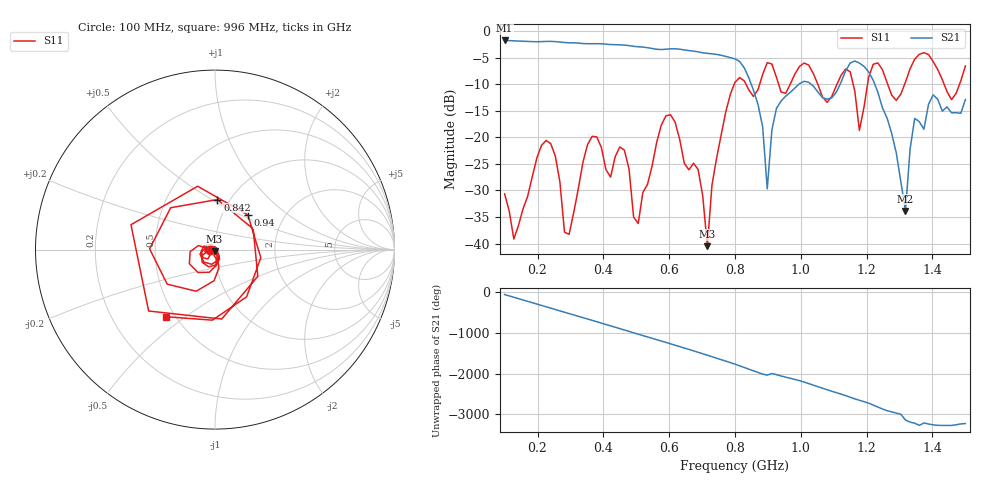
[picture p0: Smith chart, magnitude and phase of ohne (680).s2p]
! NanoVNA-App
! Date: 2025-09-25 14:26:05
! Start: 100MHz Stop: 1,5GHz Points: 101
! S-Parameter data: F S11 S21 S12 S22
# Hz S RI R 50
!  Frequency  S11_Real  S11_Imag  S21_Real  S21_Imag  S12_Real  S12_Imag  S22_Real  S22_Imag
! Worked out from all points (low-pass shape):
!   101 points, 100 MHz to 1.5 GHz, reference 50 ohm
!   highest |S21| = -1.79 dB at 100 MHz (marker M1); lowest = -33.8 dB at 1.318 GHz (marker M2)
!   |S21| within 3 dB of the highest: start of sweep to 772 MHz
!   lowest |S11| = -40.5 dB at 716 MHz (marker M3), VSWR 1.02, Z = 49.7 - j0.903 ohm
!   |S11| at or under -10 dB: start of sweep to 797.9 MHz; 833.1 MHz to 875.1 MHz (41.98 MHz wide, 4.92 % of centre); 1.051 GHz to 1.11 GHz (58.53 MHz wide, 5.42 % of centre) (the widest 3 of 7)
!   S12 and S22 are empty: the file has one direction only
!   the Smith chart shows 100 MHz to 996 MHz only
!   S11 on the Smith chart (normalised r, x): 100 MHz: 0.94, -0.01; 842 MHz: 0.88, +0.53; 940 MHz: 1.32, +0.55; 996 MHz: 0.45, -0.42
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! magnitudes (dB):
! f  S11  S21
! 100 MHz  -30.6  -1.8
! 128 MHz  -39.1  -1.9
! 226 MHz  -20.6  -2.0
! 296 MHz  -38.2  -2.2
! 338 MHz  -24.7  -2.4
! 464 MHz  -22.4  -2.7
! 506 MHz  -36.2  -3.0
! 576 MHz  -17.7  -3.5
! 688 MHz  -26.1  -3.9
! 716 MHz  -40.5  -4.2
! 800 MHz  -9.7  -5.3
! 842 MHz  -11.1  -8.8
! 898 MHz  -6.0  -29.7
! 940 MHz  -11.5  -13.2
! 996 MHz  -6.7  -9.9
! 1.038 GHz  -8.0  -10.4
! 1.178 GHz  -18.7  -6.0
! 1.22 GHz  -6.3  -9.3
! 1.276 GHz  -12.1  -19.3
! 1.318 GHz  -9.6  -33.8
! 1.346 GHz  -5.3  -16.4
! 1.5 GHz  -6.6  -12.9
